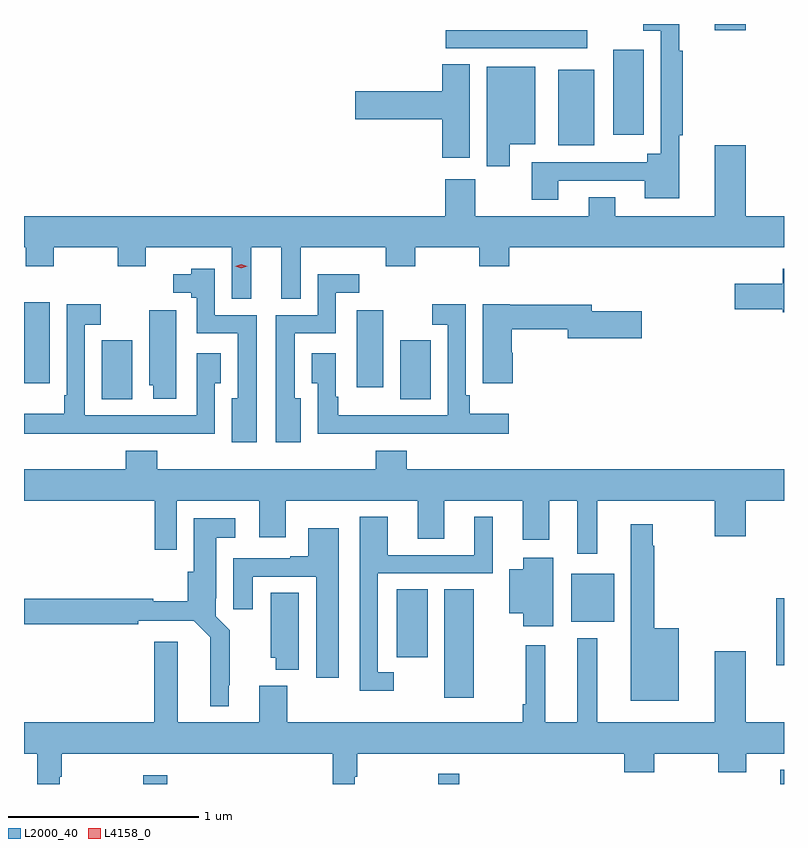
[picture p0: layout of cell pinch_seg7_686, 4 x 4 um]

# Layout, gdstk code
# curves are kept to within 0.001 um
import gdstk
lib = gdstk.Library(unit=1e-6, precision=1e-09)
def R(c, l, rs):  # rectangles x0, y0, x1, y1
    for r in rs: c.add(gdstk.rectangle(r[:2], r[2:], *l))
def P(c, l, *ps):  # polygons
    for p in ps: c.add(gdstk.Polygon(p, *l))
L2000_40 = (2000, 40)
L4158_0 = (4158, 0)

pinch_seg7_686 = lib.new_cell('pinch_seg7_686')
R(pinch_seg7_686, L2000_40, [(329.832,999.124,329.96,999.169), (331.386,999.124,331.495,999.178), (333.185,999.124,333.205,999.199), (331.418,999.579,331.573,1000.148), (333.164,999.749,333.205,1000.102), (331.166,999.792,331.33,1000.148), (332.084,999.977,332.311,1000.231), (329.615,1001.149,329.776,1001.46), (331.184,1001.149,331.345,1001.46), (330.956,1001.211,331.096,1001.617), (329.205,1001.232,329.341,1001.659), (332.018,1002.485,332.206,1002.883), (332.306,1002.54,332.467,1002.988), (331.425,1002.996,332.17,1003.092), (332.84,1003.092,333.004,1003.124)])
P(pinch_seg7_686, L2000_40, [(332.017,1002.3),(332.471,1002.3),(332.471,1002.206),(332.654,1002.206),(332.654,1002.538),(332.672,1002.538),(332.672,1002.982),(332.654,1002.982),(332.654,1003.124),(332.463,1003.124),(332.463,1003.089),(332.556,1003.089),(332.556,1002.442),(332.486,1002.442),(332.486,1002.396),(331.877,1002.396),(331.877,1002.198),(332.017,1002.198)],
  [(331.552,1002.911),(331.406,1002.911),(331.406,1002.77),(330.948,1002.77),(330.948,1002.623),(331.406,1002.623),(331.406,1002.42),(331.552,1002.42)],
  [(331.762,1002.491),(331.897,1002.491),(331.897,1002.898),(331.64,1002.898),(331.64,1002.375),(331.762,1002.375)],
  [(330.4,1001.948),(330.56,1001.948),(330.56,1001.677),(330.661,1001.677),(330.661,1001.948),(331.108,1001.948),(331.108,1001.849),(331.263,1001.849),(331.263,1001.948),(331.6,1001.948),(331.6,1001.849),(331.76,1001.849),(331.76,1001.948),(333.205,1001.948),(333.205,1002.112),(333.004,1002.112),(333.004,1002.487),(332.84,1002.487),(332.84,1002.112),(332.317,1002.112),(332.317,1002.211),(332.177,1002.211),(332.177,1002.112),(331.581,1002.112),(331.581,1002.307),(331.421,1002.307),(331.421,1002.112),(329.205,1002.112),(329.205,1001.948),(329.213,1001.948),(329.213,1001.849),(329.361,1001.849),(329.361,1001.948),(329.698,1001.948),(329.698,1001.849),(329.845,1001.849),(329.845,1001.948),(330.299,1001.948),(330.299,1001.677),(330.4,1001.677)],
  [(333.205,1001.836),(333.198,1001.836),(333.198,1001.758),(332.946,1001.758),(332.946,1001.624),(333.198,1001.624),(333.198,1001.606),(333.205,1001.606)],
  [(330.43,1001.592),(330.21,1001.592),(330.21,1001.836),(330.086,1001.836),(330.086,1001.806),(329.991,1001.806),(329.991,1001.709),(330.086,1001.709),(330.086,1001.682),(330.114,1001.682),(330.114,1001.496),(330.329,1001.496),(330.329,1001.155),(330.299,1001.155),(330.299,1000.923),(330.43,1000.923)],
  [(330.661,1001.155),(330.631,1001.155),(330.631,1001.496),(330.846,1001.496),(330.846,1001.709),(330.97,1001.709),(330.97,1001.806),(330.75,1001.806),(330.75,1001.592),(330.53,1001.592),(330.53,1000.923),(330.661,1000.923)],
  [(329.623,1000.968),(329.989,1000.968),(329.989,1000.967),(330.21,1000.967),(330.21,1001.233),(330.241,1001.233),(330.241,1001.392),(330.114,1001.392),(330.114,1001.064),(329.526,1001.064),(329.526,1001.541),(329.608,1001.541),(329.608,1001.65),(329.43,1001.65),(329.43,1001.17),(329.418,1001.17),(329.418,1001.074),(329.205,1001.074),(329.205,1000.967),(329.623,1000.967)],
  [(330.971,1000.968),(331.337,1000.968),(331.337,1000.967),(331.756,1000.967),(331.756,1001.074),(331.55,1001.074),(331.55,1001.17),(331.53,1001.17),(331.53,1001.65),(331.353,1001.65),(331.353,1001.541),(331.434,1001.541),(331.434,1001.064),(331.088,1001.064),(331.088,1001.065),(330.859,1001.065),(330.859,1001.161),(330.846,1001.161),(330.846,1001.392),(330.719,1001.392),(330.719,1001.233),(330.75,1001.233),(330.75,1000.967),(330.971,1000.967)],
  [(331.778,1001.393),(331.773,1001.393),(331.773,1001.518),(332.066,1001.518),(332.066,1001.471),(332.455,1001.471),(332.455,1001.613),(332.194,1001.613),(332.194,1001.647),(331.761,1001.647),(331.761,1001.65),(331.619,1001.65),(331.619,1001.232),(331.778,1001.232)],
  [(330.007,1001.617),(329.864,1001.617),(329.864,1001.223),(329.885,1001.223),(329.885,1001.151),(330.007,1001.151)],
  [(332.221,1000.616),(332.84,1000.616),(332.84,1000.428),(333.004,1000.428),(333.004,1000.616),(333.205,1000.616),(333.205,1000.78),(331.22,1000.78),(331.22,1000.879),(331.055,1000.879),(331.055,1000.78),(329.906,1000.78),(329.906,1000.879),(329.741,1000.879),(329.741,1000.78),(329.205,1000.78),(329.205,1000.616),(329.893,1000.616),(329.893,1000.356),(330.009,1000.356),(330.009,1000.616),(330.443,1000.616),(330.443,1000.422),(330.583,1000.422),(330.583,1000.616),(331.277,1000.616),(331.277,1000.414),(331.417,1000.414),(331.417,1000.616),(331.829,1000.616),(331.829,1000.41),(331.969,1000.41),(331.969,1000.616),(332.117,1000.616),(332.117,1000.335),(332.221,1000.335)],
  [(331.15,999.711),(331.068,999.711),(331.068,1000.233),(331.672,1000.233),(331.672,1000.531),(331.574,1000.531),(331.574,1000.329),(331.12,1000.329),(331.12,1000.531),(330.972,1000.531),(330.972,999.614),(331.15,999.614)],
  [(330.283,999.643),(330.287,999.643),(330.287,999.934),(330.213,1000.008),(330.213,1000.102),(330.217,1000.102),(330.217,1000.421),(330.316,1000.421),(330.316,1000.522),(330.098,1000.522),(330.098,1000.242),(330.068,1000.242),(330.068,1000.085),(329.884,1000.085),(329.884,1000.1),(329.205,1000.1),(329.205,999.964),(329.807,999.964),(329.807,999.984),(330.098,999.984),(330.186,999.896),(330.185,999.533),(330.283,999.533)],
  [(332.65,999.943),(332.521,999.943),(332.521,1000.379),(332.513,1000.379),(332.513,1000.492),(332.399,1000.492),(332.399,999.563),(332.65,999.563)],
  [(330.862,1000.471),(330.701,1000.471),(330.701,1000.324),(330.605,1000.324),(330.605,1000.311),(330.305,1000.311),(330.305,1000.044),(330.409,1000.044),(330.409,1000.215),(330.743,1000.215),(330.743,999.684),(330.862,999.684)],
  [(331.99,1000.315),(331.832,1000.315),(331.832,1000.255),(331.76,1000.255),(331.76,1000.022),(331.832,1000.022),(331.832,999.954),(331.99,999.954)],
  [(330.652,1000.13),(330.503,1000.13),(330.503,999.789),(330.53,999.789),(330.53,999.725),(330.652,999.725)],
  [(329.392,999.161),(329.404,999.161),(329.404,999.284),(330.829,999.284),(330.829,999.124),(330.946,999.124),(330.946,999.161),(330.958,999.161),(330.958,999.284),(332.363,999.284),(332.363,999.185),(332.523,999.185),(332.523,999.284),(332.86,999.284),(332.86,999.185),(333.007,999.185),(333.007,999.284),(333.205,999.284),(333.205,999.448),(333.004,999.448),(333.004,999.823),(332.84,999.823),(332.84,999.448),(332.221,999.448),(332.221,999.892),(332.117,999.892),(332.117,999.448),(331.948,999.448),(331.948,999.853),(331.846,999.853),(331.846,999.544),(331.831,999.544),(331.831,999.448),(330.591,999.448),(330.591,999.64),(330.443,999.64),(330.443,999.448),(330.013,999.448),(330.013,999.874),(329.891,999.874),(329.891,999.448),(329.205,999.448),(329.205,999.284),(329.275,999.284),(329.275,999.124),(329.392,999.124)])
P(pinch_seg7_686, L4158_0, [(330.348,1001.839),(330.317,1001.85),(330.316,1001.85),(330.317,1001.85),(330.348,1001.859),(330.379,1001.849),(330.38,1001.849),(330.379,1001.848)])

lib.write_gds('pinch_seg7_686.gds')
